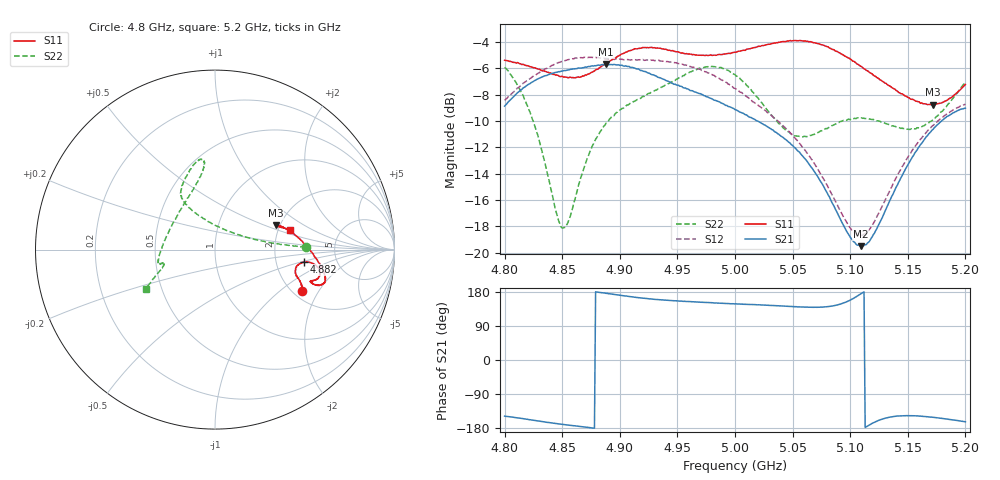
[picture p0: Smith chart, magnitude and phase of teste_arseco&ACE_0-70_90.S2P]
! Network Analyzer HP8722D
! Hewlett-Packard
! Data name: Linha & Wilkinson
! Saver's name: Rodrigo Anjos
! Comments: Teste da utilização de aquisição
! continua pelo VNA HP8722D
! Time and date: 8/5/2025 13:30
!  Frequency  S11  S21  S12  S22
# HZ  S  MA R 50
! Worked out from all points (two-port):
!   401 points, 4.8 GHz to 5.2 GHz, reference 50 ohm
!   highest |S21| = -5.70 dB at 4.888 GHz (marker M1); lowest = -19.5 dB at 5.109 GHz (marker M2)
!   |S21| within 3 dB of the highest: 4.802 GHz to 4.99 GHz (188.2 MHz wide, 3.84 % of centre)
!   lowest |S11| = -8.8 dB at 5.172 GHz (marker M3), VSWR 2.15, Z = 95.1 + j29.6 ohm
!   |S11| at or under -10 dB: nowhere
!   |S22| runs from -18.1 to -5.8 dB; largest |S21 - S12| = 1.1
!   S11 on the Smith chart (normalised r, x): 4.8 GHz: 2.23, -1.45; 4.882 GHz: 2.90, -0.53; 5.2 GHz: 2.33, +0.64
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4.8e9  0.5376 -25.5  0.36 -148.2  0.3785 11.4  0.5048 1.5
4.812e9  0.5245 -22.4  0.4072 -153.0  0.4234 9.6  0.4255 2.8
4.824e9  0.506 -20.4  0.444 -158.5  0.4644 7.6  0.3219 6.3
4.849e9  0.4662 -16.1  0.4883 -169.5  0.5306 3.8  0.1253 56.6
4.855e9  0.4613 -14.7  0.494 -171.7  0.54 3.0  0.1302 83.7
4.867e9  0.466 -11.1  0.5021 -176.1  0.5495 1.3  0.1973 113.3
4.882e9  0.502 -7.9  0.5146 178.5  0.5498 -0.0  0.2834 122.3
4.888e9  0.5208 -7.8  0.5185 175.9  0.5454 -0.3  0.3097 123.0
4.911e9  0.5888 -10.4  0.5047 166.5  0.5393 0.3  0.372 121.0
4.934e9  0.5968 -15.5  0.462 159.0  0.5374 -0.9  0.4189 114.3
4.976e9  0.5602 -18.4  0.3903 151.9  0.482 -4.5  0.5065 100.0
5e9  0.5769 -19.4  0.3493 148.2  0.4205 -4.7  0.4744 97.4
5.018e9  0.6013 -19.2  0.3181 146.1  0.368 -1.9  0.3946 103.8
5.044e9  0.6326 -17.3  0.2689 141.9  0.2966 3.4  0.2918 131.3
5.067e9  0.6297 -13.4  0.2091 139.1  0.2247 9.7  0.2802 164.4
5.099e9  0.5472 -2.6  0.1166 156.5  0.1259 37.9  0.3212 -169.9
5.109e9  0.5101 2.1  0.1059 174.2  0.1164 57.4  0.3244 -166.8
5.118e9  0.4798 6.5  0.113 -169.0  0.1248 75.4  0.3209 -165.6
5.134e9  0.4303 14.2  0.156 -151.0  0.1706 94.8  0.3061 -165.4
5.155e9  0.3804 20.8  0.2339 -147.1  0.2484 102.2  0.2958 -164.1
5.172e9  0.3645 21.7  0.294 -151.2  0.3042 103.2  0.3203 -160.0
5.2e9  0.4348 14.8  0.3536 -163.0  0.3663 103.6  0.4444 -150.2
